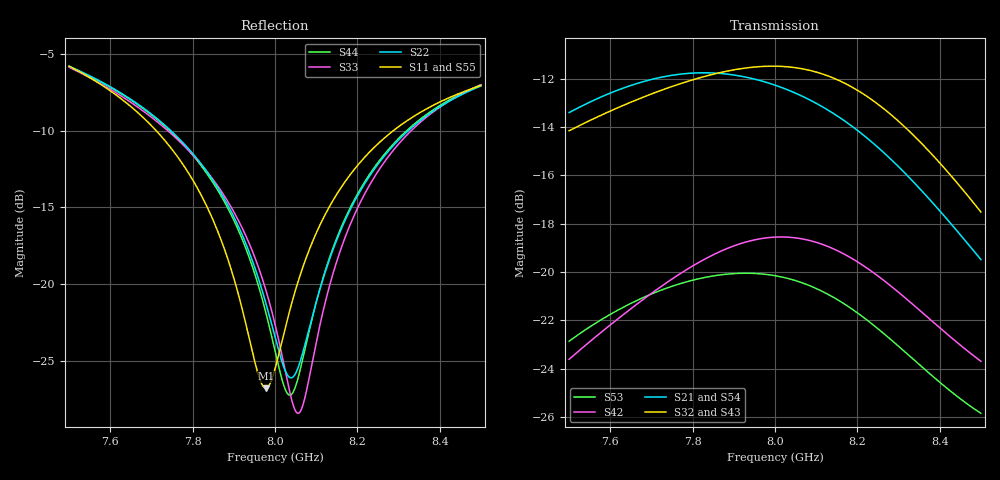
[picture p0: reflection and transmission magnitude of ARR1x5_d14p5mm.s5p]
! Touchstone file exported from HFSS 2025.1.0
!  File:  C:/Users/user/Documents/Ansoft/TFG_UWB-MIMO-Array.aedt
!  Generated:  06:37:33 PM Nov 20, 2026
!  Design:  ARR1x5_P01_MS2_dparam
!  Project:  TFG_UWB-MIMO-Array
!  Setup:  Setup_ch9
!  Solution:  Sweep_7p5_8p5
! Variables:
!  arr_d = 14.5mm
!  board_m = 13mm
!  board_x = 84mm
!  board_y = 26mm
!  cu_t = 0.035mm
!  line_w = 3.92mm
!  pad_xy = 22mm
!  pad_zn = 25mm
!  pad_zp = 33mm
!  patch_L = 7.322mm
!  patch_W = 11.421266mm
!  sub_h = 2.07mm
!  tr_l = 7.1mm
!  tr_w = 0.8mm
# GHz S MA R 50.000000
! Terminal data exported
! Port[1] = P1
! Port[2] = P2
! Port[3] = P3
! Port[4] = P4
! Port[5] = P5
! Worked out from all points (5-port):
!   1001 points, 7.5 GHz to 8.5 GHz, reference 50 ohm
!   strongest paths, dB at 7.5 GHz, 7.75 GHz, 8 GHz, 8.25 GHz, 8.5 GHz:
!     S32: -14.2, -12.3, -11.5, -13.1, -17.5
!     S43: -14.2, -12.3, -11.5, -13.1, -17.7
!     S21: -13.4, -11.9, -12.3, -14.8, -19.5
!     S54: -13.4, -11.9, -12.3, -15.0, -19.7
!     S42: -23.6, -20.3, -18.6, -20.2, -23.7
!     S53: -22.9, -20.6, -20.1, -22.3, -25.8
!   lowest |S11| = -26.8 dB at 7.978 GHz (marker M1), VSWR 1.10, Z = 54.4 + j1.83 ohm
!   |S11| at or under -10 dB: 7.711 GHz to 8.288 GHz (576.2 MHz wide, 7.2 % of centre)
